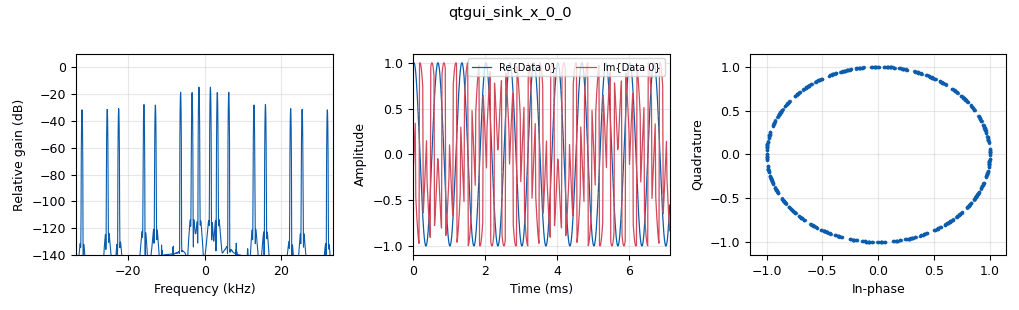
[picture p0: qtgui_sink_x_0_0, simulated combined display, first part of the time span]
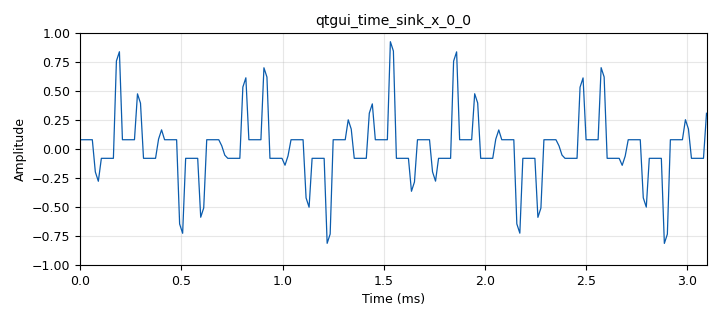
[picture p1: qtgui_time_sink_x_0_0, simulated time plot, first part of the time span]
<?xml version='1.0' encoding='utf-8'?>
<?grc format='1' created='3.7.13'?>
<flow_graph>
<block>
<key>options</key>
<param><key>id</key><value>top_block</value></param>
<param><key>generate_options</key><value>qt_gui</value></param>
</block>
<block>
<key>variable</key>
<param><key>id</key><value>IO_FLT_Cutoff</value></param>
<param><key>value</key><value>100e3</value></param>
</block>
<block>
<key>variable</key>
<param><key>id</key><value>RRC_ALPHA</value></param>
<param><key>value</key><value>0.1</value></param>
</block>
<block>
<key>variable</key>
<param><key>id</key><value>RRC_TAPS</value></param>
<param><key>value</key><value>98</value></param>
</block>
<block>
<key>variable</key>
<param><key>id</key><value>SYMB_RATE</value></param>
<param><key>value</key><value>9600</value></param>
</block>
<block>
<key>variable</key>
<param><key>id</key><value>samp_rate</value></param>
<param><key>value</key><value>67207</value></param>
</block>
<block>
<key>analog_const_source_x</key>
<param><key>id</key><value>analog_const_source_x_0</value></param>
<param><key>const</key><value>0</value></param>
<param><key>type</key><value>float</value></param>
</block>
<block>
<key>analog_pwr_squelch_xx</key>
<param><key>id</key><value>analog_pwr_squelch_xx_0</value></param>
<param><key>alpha</key><value>1e-4</value></param>
<param><key>comment</key><value>"Gate"</value></param>
<param><key>gate</key><value>True</value></param>
<param><key>ramp</key><value>0</value></param>
<param><key>threshold</key><value>-40</value></param>
<param><key>type</key><value>complex</value></param>
</block>
<block>
<key>analog_quadrature_demod_cf</key>
<param><key>id</key><value>analog_quadrature_demod_cf_0</value></param>
<param><key>gain</key><value>samp_rate/(2*math.pi*3e3/8.0)</value></param>
</block>
<block>
<key>analog_random_source_x</key>
<param><key>id</key><value>analog_random_source_x_0</value></param>
<param><key>_enabled</key><value>0</value></param>
<param><key>max</key><value>2</value></param>
<param><key>min</key><value>0</value></param>
<param><key>num_samps</key><value>1000</value></param>
<param><key>type</key><value>int</value></param>
<param><key>repeat</key><value>True</value></param>
</block>
<block>
<key>analog_sig_source_x</key>
<param><key>id</key><value>analog_sig_source_x_0</value></param>
<param><key>amp</key><value>1</value></param>
<param><key>freq</key><value>1500</value></param>
<param><key>offset</key><value>0</value></param>
<param><key>type</key><value>complex</value></param>
<param><key>samp_rate</key><value>samp_rate</value></param>
<param><key>waveform</key><value>analog.GR_COS_WAVE</value></param>
</block>
<block>
<key>analog_sig_source_x</key>
<param><key>id</key><value>analog_sig_source_x_1</value></param>
<param><key>amp</key><value>1</value></param>
<param><key>freq</key><value>0.5*SYMB_RATE</value></param>
<param><key>offset</key><value>0</value></param>
<param><key>type</key><value>float</value></param>
<param><key>samp_rate</key><value>samp_rate</value></param>
<param><key>waveform</key><value>analog.GR_SQR_WAVE</value></param>
</block>
<block>
<key>blocks_add_const_vxx</key>
<param><key>id</key><value>blocks_add_const_vxx_0</value></param>
<param><key>const</key><value>1</value></param>
<param><key>type</key><value>float</value></param>
</block>
<block>
<key>blocks_add_xx</key>
<param><key>id</key><value>blocks_add_xx_0</value></param>
<param><key>type</key><value>complex</value></param>
</block>
<block>
<key>blocks_complex_to_float</key>
<param><key>id</key><value>blocks_complex_to_float_0</value></param>
</block>
<block>
<key>blocks_delay</key>
<param><key>id</key><value>blocks_delay_1</value></param>
<param><key>delay</key><value>1000</value></param>
<param><key>type</key><value>float</value></param>
</block>
<block>
<key>blocks_file_sink</key>
<param><key>id</key><value>blocks_file_sink_0</value></param>
<param><key>_enabled</key><value>0</value></param>
<param><key>file</key><value>C:\Users\buer9\Google Drive\ELSYS\Student_defined_project\Gnu_radio\Ground_Station\file_sink\output.bin</value></param>
<param><key>type</key><value>complex</value></param>
</block>
<block>
<key>blocks_file_sink</key>
<param><key>id</key><value>blocks_file_sink_0_0</value></param>
<param><key>file</key><value>C:\Users\buer9\Google Drive\ELSYS\Student_defined_project\Gnu_radio\Ground_Station\file_sink\complex_binary_feed.bin</value></param>
<param><key>type</key><value>float</value></param>
</block>
<block>
<key>blocks_file_sink</key>
<param><key>id</key><value>blocks_file_sink_0_1</value></param>
<param><key>file</key><value>C:\Users\buer9\Google Drive\ELSYS\Student_defined_project\Gnu_radio\Ground_Station\file_sink\receive_float.bin</value></param>
<param><key>type</key><value>float</value></param>
</block>
<block>
<key>blocks_file_sink</key>
<param><key>id</key><value>blocks_file_sink_0_1_0</value></param>
<param><key>file</key><value>C:\Users\buer9\Google Drive\ELSYS\Student_defined_project\Gnu_radio\Ground_Station\file_sink\receive_complex.bin</value></param>
<param><key>type</key><value>complex</value></param>
</block>
<block>
<key>blocks_float_to_complex</key>
<param><key>id</key><value>blocks_float_to_complex_0</value></param>
</block>
<block>
<key>blocks_float_to_complex</key>
<param><key>id</key><value>blocks_float_to_complex_0_0</value></param>
</block>
<block>
<key>blocks_float_to_complex</key>
<param><key>id</key><value>blocks_float_to_complex_0_0_0</value></param>
</block>
<block>
<key>blocks_moving_average_xx</key>
<param><key>id</key><value>blocks_moving_average_xx_0</value></param>
<param><key>length</key><value>2</value></param>
<param><key>max_iter</key><value>4000</value></param>
<param><key>scale</key><value>0.01</value></param>
<param><key>type</key><value>float</value></param>
</block>
<block>
<key>blocks_multiply_const_vxx</key>
<param><key>id</key><value>blocks_multiply_const_vxx_0</value></param>
<param><key>const</key><value>-1</value></param>
<param><key>type</key><value>float</value></param>
</block>
<block>
<key>blocks_multiply_const_vxx</key>
<param><key>id</key><value>blocks_multiply_const_vxx_0_1_0</value></param>
<param><key>const</key><value>-1</value></param>
<param><key>type</key><value>float</value></param>
</block>
<block>
<key>blocks_multiply_xx</key>
<param><key>id</key><value>blocks_multiply_xx_0</value></param>
<param><key>type</key><value>complex</value></param>
</block>
<block>
<key>blocks_multiply_xx</key>
<param><key>id</key><value>blocks_multiply_xx_0_0</value></param>
<param><key>type</key><value>complex</value></param>
</block>
<block>
<key>blocks_throttle</key>
<param><key>id</key><value>blocks_throttle_0</value></param>
<param><key>samples_per_second</key><value>samp_rate</value></param>
<param><key>type</key><value>complex</value></param>
</block>
<block>
<key>channels_channel_model</key>
<param><key>id</key><value>channels_channel_model_0</value></param>
<param><key>_enabled</key><value>2</value></param>
<param><key>epsilon</key><value>1.0</value></param>
<param><key>freq_offset</key><value>0.0</value></param>
<param><key>noise_voltage</key><value>0.01</value></param>
<param><key>seed</key><value>0</value></param>
<param><key>taps</key><value>1.0 + 1.0j</value></param>
</block>
<block>
<key>low_pass_filter</key>
<param><key>id</key><value>low_pass_filter_0</value></param>
<param><key>cutoff_freq</key><value>IO_FLT_Cutoff</value></param>
<param><key>decim</key><value>1</value></param>
<param><key>_enabled</key><value>0</value></param>
<param><key>type</key><value>fir_filter_ccf</value></param>
<param><key>gain</key><value>1</value></param>
<param><key>samp_rate</key><value>samp_rate</value></param>
<param><key>width</key><value>10</value></param>
<param><key>win</key><value>firdes.WIN_HAMMING</value></param>
</block>
<block>
<key>low_pass_filter</key>
<param><key>id</key><value>low_pass_filter_0_0</value></param>
<param><key>cutoff_freq</key><value>IO_FLT_Cutoff</value></param>
<param><key>decim</key><value>1</value></param>
<param><key>_enabled</key><value>0</value></param>
<param><key>type</key><value>fir_filter_ccf</value></param>
<param><key>gain</key><value>1</value></param>
<param><key>samp_rate</key><value>samp_rate</value></param>
<param><key>width</key><value>10</value></param>
<param><key>win</key><value>firdes.WIN_HAMMING</value></param>
</block>
<block>
<key>qtgui_sink_x</key>
<param><key>id</key><value>qtgui_sink_x_0</value></param>
<param><key>bw</key><value>samp_rate</value></param>
<param><key>fc</key><value>0</value></param>
<param><key>freqchangevar</key><value>None</value></param>
<param><key>_enabled</key><value>0</value></param>
<param><key>fftsize</key><value>1024</value></param>
<param><key>showports</key><value>True</value></param>
<param><key>type</key><value>complex</value></param>
<param><key>wintype</key><value>firdes.WIN_BLACKMAN_hARRIS</value></param>
</block>
<block>
<key>qtgui_sink_x</key>
<param><key>id</key><value>qtgui_sink_x_0_0</value></param>
<param><key>bw</key><value>samp_rate</value></param>
<param><key>fc</key><value>0</value></param>
<param><key>freqchangevar</key><value>None</value></param>
<param><key>fftsize</key><value>1024</value></param>
<param><key>showports</key><value>True</value></param>
<param><key>type</key><value>complex</value></param>
<param><key>wintype</key><value>firdes.WIN_BLACKMAN_hARRIS</value></param>
</block>
<block>
<key>qtgui_time_sink_x</key>
<param><key>id</key><value>qtgui_time_sink_x_0_0</value></param>
<param><key>color1</key><value>"blue"</value></param>
<param><key>label1</key><value></value></param>
<param><key>size</key><value>1024</value></param>
<param><key>srate</key><value>samp_rate</value></param>
<param><key>type</key><value>float</value></param>
</block>
<block>
<key>root_raised_cosine_filter</key>
<param><key>id</key><value>root_raised_cosine_filter_0</value></param>
<param><key>alpha</key><value>RRC_ALPHA</value></param>
<param><key>decim</key><value>10</value></param>
<param><key>_enabled</key><value>2</value></param>
<param><key>type</key><value>interp_fir_filter_ccf</value></param>
<param><key>gain</key><value>1</value></param>
<param><key>interp</key><value>1</value></param>
<param><key>ntaps</key><value>RRC_TAPS</value></param>
<param><key>samp_rate</key><value>samp_rate</value></param>
<param><key>sym_rate</key><value>SYMB_RATE</value></param>
</block>
<block>
<key>root_raised_cosine_filter</key>
<param><key>id</key><value>root_raised_cosine_filter_0_0</value></param>
<param><key>alpha</key><value>RRC_ALPHA</value></param>
<param><key>_enabled</key><value>2</value></param>
<param><key>type</key><value>interp_fir_filter_ccf</value></param>
<param><key>gain</key><value>1</value></param>
<param><key>interp</key><value>1</value></param>
<param><key>ntaps</key><value>RRC_TAPS</value></param>
<param><key>samp_rate</key><value>samp_rate</value></param>
<param><key>sym_rate</key><value>SYMB_RATE</value></param>
</block>
<connection><source_block_id>analog_const_source_x_0</source_block_id><sink_block_id>blocks_float_to_complex_0_0</sink_block_id><source_key>0</source_key><sink_key>1</sink_key></connection>
<connection><source_block_id>analog_const_source_x_0</source_block_id><sink_block_id>blocks_float_to_complex_0_0_0</sink_block_id><source_key>0</source_key><sink_key>1</sink_key></connection>
<connection><source_block_id>analog_pwr_squelch_xx_0</source_block_id><sink_block_id>analog_quadrature_demod_cf_0</sink_block_id><source_key>0</source_key><sink_key>0</sink_key></connection>
<connection><source_block_id>analog_pwr_squelch_xx_0</source_block_id><sink_block_id>blocks_file_sink_0_1_0</sink_block_id><source_key>0</source_key><sink_key>0</sink_key></connection>
<connection><source_block_id>analog_quadrature_demod_cf_0</source_block_id><sink_block_id>blocks_file_sink_0_1</sink_block_id><source_key>0</source_key><sink_key>0</sink_key></connection>
<connection><source_block_id>analog_quadrature_demod_cf_0</source_block_id><sink_block_id>blocks_moving_average_xx_0</sink_block_id><source_key>0</source_key><sink_key>0</sink_key></connection>
<connection><source_block_id>analog_sig_source_x_0</source_block_id><sink_block_id>blocks_complex_to_float_0</sink_block_id><source_key>0</source_key><sink_key>0</sink_key></connection>
<connection><source_block_id>analog_sig_source_x_0</source_block_id><sink_block_id>blocks_multiply_xx_0</sink_block_id><source_key>0</source_key><sink_key>0</sink_key></connection>
<connection><source_block_id>analog_sig_source_x_1</source_block_id><sink_block_id>blocks_delay_1</sink_block_id><source_key>0</source_key><sink_key>0</sink_key></connection>
<connection><source_block_id>blocks_add_const_vxx_0</source_block_id><sink_block_id>blocks_float_to_complex_0_0_0</sink_block_id><source_key>0</source_key><sink_key>0</sink_key></connection>
<connection><source_block_id>blocks_add_xx_0</source_block_id><sink_block_id>root_raised_cosine_filter_0</sink_block_id><source_key>0</source_key><sink_key>0</sink_key></connection>
<connection><source_block_id>blocks_complex_to_float_0</source_block_id><sink_block_id>blocks_multiply_const_vxx_0_1_0</sink_block_id><source_key>1</source_key><sink_key>0</sink_key></connection>
<connection><source_block_id>blocks_complex_to_float_0</source_block_id><sink_block_id>blocks_float_to_complex_0</sink_block_id><source_key>0</source_key><sink_key>0</sink_key></connection>
<connection><source_block_id>blocks_delay_1</source_block_id><sink_block_id>blocks_file_sink_0_0</sink_block_id><source_key>0</source_key><sink_key>0</sink_key></connection>
<connection><source_block_id>blocks_delay_1</source_block_id><sink_block_id>blocks_float_to_complex_0_0</sink_block_id><source_key>0</source_key><sink_key>0</sink_key></connection>
<connection><source_block_id>blocks_delay_1</source_block_id><sink_block_id>blocks_multiply_const_vxx_0</sink_block_id><source_key>0</source_key><sink_key>0</sink_key></connection>
<connection><source_block_id>blocks_float_to_complex_0</source_block_id><sink_block_id>blocks_multiply_xx_0_0</sink_block_id><source_key>0</source_key><sink_key>1</sink_key></connection>
<connection><source_block_id>blocks_float_to_complex_0_0</source_block_id><sink_block_id>blocks_multiply_xx_0</sink_block_id><source_key>0</source_key><sink_key>1</sink_key></connection>
<connection><source_block_id>blocks_float_to_complex_0_0_0</source_block_id><sink_block_id>blocks_multiply_xx_0_0</sink_block_id><source_key>0</source_key><sink_key>0</sink_key></connection>
<connection><source_block_id>blocks_moving_average_xx_0</source_block_id><sink_block_id>qtgui_time_sink_x_0_0</sink_block_id><source_key>0</source_key><sink_key>0</sink_key></connection>
<connection><source_block_id>blocks_multiply_const_vxx_0</source_block_id><sink_block_id>blocks_add_const_vxx_0</sink_block_id><source_key>0</source_key><sink_key>0</sink_key></connection>
<connection><source_block_id>blocks_multiply_const_vxx_0_1_0</source_block_id><sink_block_id>blocks_float_to_complex_0</sink_block_id><source_key>0</source_key><sink_key>1</sink_key></connection>
<connection><source_block_id>blocks_multiply_xx_0</source_block_id><sink_block_id>blocks_add_xx_0</sink_block_id><source_key>0</source_key><sink_key>0</sink_key></connection>
<connection><source_block_id>blocks_multiply_xx_0_0</source_block_id><sink_block_id>blocks_add_xx_0</sink_block_id><source_key>0</source_key><sink_key>1</sink_key></connection>
<connection><source_block_id>blocks_throttle_0</source_block_id><sink_block_id>channels_channel_model_0</sink_block_id><source_key>0</source_key><sink_key>0</sink_key></connection>
<connection><source_block_id>channels_channel_model_0</source_block_id><sink_block_id>low_pass_filter_0_0</sink_block_id><source_key>0</source_key><sink_key>0</sink_key></connection>
<connection><source_block_id>channels_channel_model_0</source_block_id><sink_block_id>root_raised_cosine_filter_0_0</sink_block_id><source_key>0</source_key><sink_key>0</sink_key></connection>
<connection><source_block_id>low_pass_filter_0_0</source_block_id><sink_block_id>analog_pwr_squelch_xx_0</sink_block_id><source_key>0</source_key><sink_key>0</sink_key></connection>
<connection><source_block_id>low_pass_filter_0_0</source_block_id><sink_block_id>qtgui_sink_x_0</sink_block_id><source_key>0</source_key><sink_key>0</sink_key></connection>
<connection><source_block_id>root_raised_cosine_filter_0</source_block_id><sink_block_id>blocks_throttle_0</sink_block_id><source_key>0</source_key><sink_key>0</sink_key></connection>
<connection><source_block_id>root_raised_cosine_filter_0</source_block_id><sink_block_id>qtgui_sink_x_0_0</sink_block_id><source_key>0</source_key><sink_key>0</sink_key></connection>
<connection><source_block_id>root_raised_cosine_filter_0_0</source_block_id><sink_block_id>analog_pwr_squelch_xx_0</sink_block_id><source_key>0</source_key><sink_key>0</sink_key></connection>
</flow_graph>
